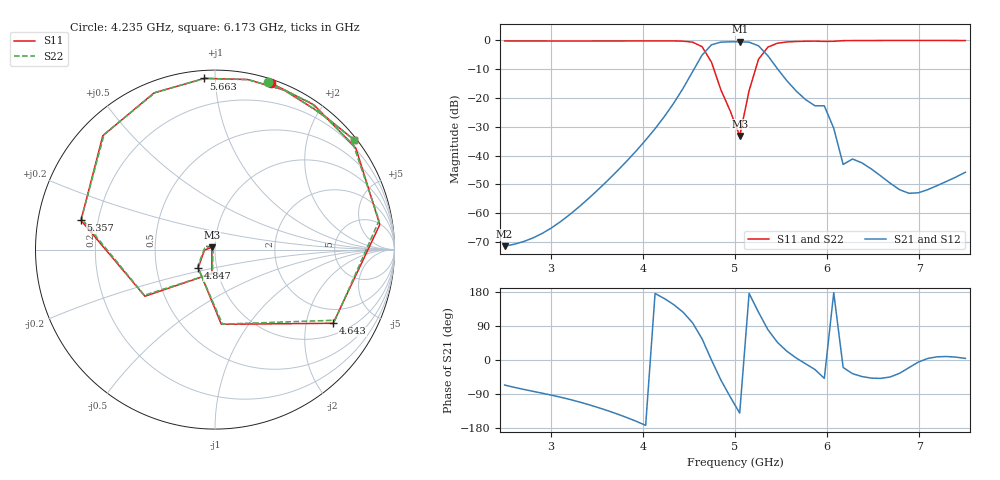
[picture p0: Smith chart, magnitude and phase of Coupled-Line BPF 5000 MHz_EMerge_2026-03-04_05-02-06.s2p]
! Generated by EMerge - 2-port S-parameters
! File generated: 2026-03-04 05:02
! --- Coupled-Line BPF 5000 MHz ---
! Substrate: RO4003C
! h = 0.508 mm
! W50 = 1.1 mm, Lfeed = 5 mm
! L1 = 8.93 mm, S1 = 0.1 mm, W1 = 0.76 mm
! L2 = 8.93 mm, S2 = 0.1 mm, W2 = 1.08 mm
! Run time = 0.92 min
# GHZ S RI R 50
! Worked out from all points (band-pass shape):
!   50 points, 2.5 GHz to 7.5 GHz, reference 50 ohm
!   highest |S21| = -0.50 dB at 5.051 GHz (marker M1); lowest = -71.4 dB at 2.5 GHz (marker M2)
!   |S21| within 3 dB of the highest: 4.689 GHz to 5.302 GHz (613.5 MHz wide, 12.3 % of centre)
!   lowest |S11| = -33.2 dB at 5.051 GHz (marker M3), VSWR 1.04, Z = 48.3 + j1.31 ohm
!   |S11| at or under -10 dB: 4.771 GHz to 5.223 GHz (452.4 MHz wide, 9.05 % of centre)
!   |S22| runs from -33.0 to 0.0 dB; largest |S21 - S12| = 0.00049
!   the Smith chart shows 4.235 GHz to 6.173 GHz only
!   S11 on the Smith chart (normalised r, x): 4.235 GHz: 0.03, +1.39; 4.643 GHz: 1.40, -2.88; 4.847 GHz: 0.81, -0.17; 5.357 GHz: 0.14, +0.11; 5.663 GHz: 0.04, +0.94; 6.173 GHz: 0.06, +2.88
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2.5  -0.7909 -0.5705  0.000109 -0.000246  0.000107 -0.000246  -0.787 -0.576
3.418367  -0.8518 0.4698  -0.000877 -0.00163  -0.000877 -0.00163  -0.8568 0.4604
3.928571  -0.2825 0.9344  -0.0115 -0.00378  -0.0115 -0.00378  -0.2964 0.93
4.234694  0.3143 0.9266  -0.0456 0.0148  -0.0456 0.0148  0.2965 0.9322
4.438776  0.7846 0.5657  -0.0868 0.1211  -0.0867 0.121  0.7712 0.5836
4.540816  0.9181 0.139  -0.0384 0.2853  -0.0384 0.2851  0.9143 0.162
4.642857  0.6583 -0.4105  0.3122 0.459  0.312 0.4588  0.6686 -0.3935
4.744898  0.0352 -0.4162  0.8382 -0.0021  0.8378 -0.00212  0.0416 -0.4152
4.846939  -0.0936 -0.1019  0.5621 -0.7407  0.5618 -0.7403  -0.0971 -0.0962
4.94898  -0.059 -0.00346  -0.1267 -0.9337  -0.1267 -0.9333  -0.0574 0.00793
5.05102  -0.0172 0.0136  -0.7228 -0.6073  -0.7225 -0.607  -0.01 0.0199
5.153061  -0.0173 -0.1331  -0.9272 0.0696  -0.9268 0.0695  -0.0145 -0.1328
5.255102  -0.3904 -0.2599  -0.4734 0.6498  -0.4732 0.6496  -0.3934 -0.2546
5.357143  -0.7466 0.1629  0.0932 0.531  0.0932 0.5308  -0.7443 0.1733
5.459184  -0.6251 0.6346  0.2213 0.236  0.2212 0.2359  -0.6176 0.642
5.663265  -0.0607 0.9537  0.1317 0.0125  0.1317 0.0125  -0.0535 0.9543
5.867347  0.3844 0.889  0.0665 -0.0311  0.0665 -0.0311  0.3884 0.8873
5.969388  0.5518 0.7836  0.0485 -0.0547  0.0486 -0.0548  0.5545 0.7815
6.173469  0.7757 0.6111  0.00661 -0.00239  0.00655 -0.00238  0.7762 0.6105
6.683673  0.9928 -0.0529  0.00236 -0.00234  0.00235 -0.00235  0.9929 -0.0507
6.989796  0.9036 -0.4167  0.00226 -0.000215  0.00224 -0.000222  0.9051 -0.4135
7.5  0.5142 -0.8484  0.00514 0.00038  0.00511 0.000373  0.5184 -0.8458
